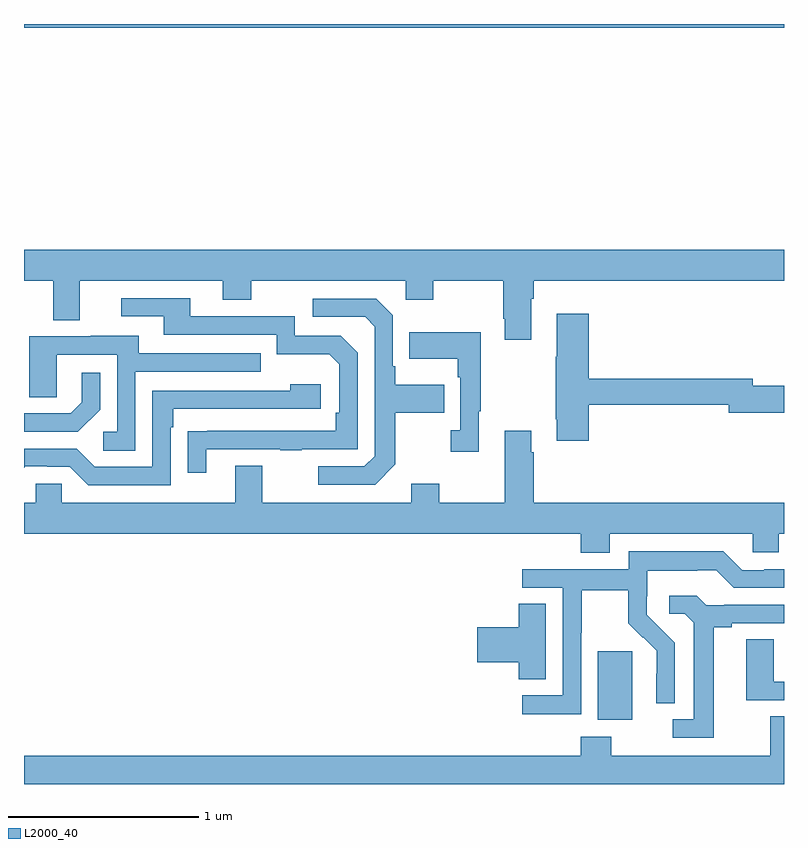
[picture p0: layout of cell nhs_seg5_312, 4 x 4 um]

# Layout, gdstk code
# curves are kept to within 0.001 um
import gdstk
lib = gdstk.Library(unit=1e-6, precision=1e-09)
def R(c, l, rs):  # rectangles x0, y0, x1, y1
    for r in rs: c.add(gdstk.rectangle(r[:2], r[2:], *l))
def P(c, l, *ps):  # polygons
    for p in ps: c.add(gdstk.Polygon(p, *l))
L2000_40 = (2000, 40)

nhs_seg5_312 = lib.new_cell('nhs_seg5_312')
R(nhs_seg5_312, L2000_40, [(134.021,833.138,134.2,833.499), (131,836.78,135,836.799)])
P(nhs_seg5_312, L2000_40, [(133.669,835.352),(133.682,835.352),(133.682,835.448),(135,835.448),(135,835.612),(131,835.612),(131,835.448),(131.153,835.448),(131.153,835.24),(131.293,835.24),(131.293,835.448),(132.047,835.448),(132.047,835.349),(132.195,835.349),(132.195,835.448),(133.008,835.448),(133.008,835.349),(133.155,835.349),(133.155,835.448),(133.522,835.448),(133.522,835.249),(133.529,835.249),(133.529,835.137),(133.669,835.137)],
  [(131.959,834.561),(132.349,834.561),(132.349,834.556),(132.461,834.556),(132.461,834.561),(132.756,834.561),(132.756,835.068),(132.666,835.158),(132.426,835.158),(132.426,835.26),(131.875,835.26),(131.875,835.356),(131.511,835.356),(131.511,835.26),(131.735,835.26),(131.735,835.164),(132.33,835.164),(132.33,835.061),(132.607,835.061),(132.66,835.008),(132.66,834.754),(132.64,834.754),(132.64,834.657),(131.863,834.656),(131.863,834.438),(131.959,834.438)],
  [(132.955,834.481),(132.955,834.754),(133.211,834.754),(133.211,834.901),(132.955,834.901),(132.955,834.997),(132.942,834.997),(132.942,835.266),(132.855,835.353),(132.519,835.353),(132.519,835.257),(132.795,835.257),(132.846,835.206),(132.846,834.525),(132.792,834.471),(132.549,834.471),(132.549,834.375),(132.849,834.375)],
  [(133.973,834.796),(134.708,834.796),(134.708,834.754),(135,834.754),(135,834.896),(134.836,834.896),(134.836,834.932),(133.973,834.932),(133.973,835.273),(133.805,835.273),(133.805,835.049),(133.798,835.049),(133.798,834.718),(133.805,834.718),(133.805,834.606),(133.973,834.606)],
  [(133.393,834.761),(133.405,834.761),(133.405,835.177),(133.027,835.177),(133.027,835.037),(133.284,835.037),(133.284,834.941),(133.296,834.941),(133.296,834.662),(133.245,834.662),(133.245,834.549),(133.393,834.549)],
  [(131.586,834.969),(132.245,834.969),(132.245,835.065),(131.605,835.065),(131.605,835.159),(131.351,835.159),(131.351,835.155),(131.027,835.155),(131.027,834.835),(131.172,834.835),(131.172,835.059),(131.49,835.059),(131.49,834.654),(131.418,834.654),(131.418,834.553),(131.586,834.553)],
  [(131.4,834.77),(131.4,834.964),(131.303,834.964),(131.303,834.807),(131.246,834.75),(131,834.75),(131,834.654),(131.284,834.654)],
  [(131.772,834.677),(131.785,834.677),(131.785,834.774),(132.562,834.774),(132.562,834.904),(132.401,834.904),(132.401,834.87),(131.676,834.87),(131.676,834.468),(131.373,834.468),(131.277,834.564),(131,834.564),(131,834.464),(131.007,834.471),(131.123,834.471),(131.123,834.468),(131.241,834.468),(131.337,834.372),(131.772,834.372)],
  [(134.083,834.116),(134.835,834.116),(134.835,834.018),(134.973,834.018),(134.973,834.116),(135,834.116),(135,834.28),(133.682,834.28),(133.682,834.545),(133.669,834.545),(133.669,834.658),(133.529,834.658),(133.529,834.28),(133.185,834.28),(133.185,834.379),(133.037,834.379),(133.037,834.28),(132.253,834.28),(132.253,834.475),(132.113,834.475),(132.113,834.28),(131.199,834.28),(131.199,834.378),(131.061,834.378),(131.061,834.28),(131,834.28),(131,834.116),(133.931,834.116),(133.931,834.017),(134.083,834.017)],
  [(133.932,833.596),(133.935,833.596),(133.935,833.82),(134.179,833.82),(134.179,833.645),(134.256,833.568),(134.259,833.571),(134.33,833.501),(134.33,833.378),(134.328,833.378),(134.328,833.224),(134.424,833.224),(134.424,833.542),(134.278,833.69),(134.278,833.787),(134.28,833.787),(134.28,833.921),(134.543,833.921),(134.543,833.925),(134.643,833.925),(134.736,833.832),(135,833.832),(135,833.928),(134.897,833.928),(134.897,833.925),(134.781,833.925),(134.681,834.025),(134.184,834.025),(134.184,833.928),(133.623,833.928),(133.623,833.832),(133.836,833.832),(133.836,833.265),(133.623,833.265),(133.623,833.167),(133.932,833.167)],
  [(134.629,833.624),(134.725,833.624),(134.725,833.646),(135,833.646),(135,833.742),(134.686,833.742),(134.686,833.739),(134.592,833.739),(134.54,833.791),(134.397,833.791),(134.397,833.694),(134.478,833.694),(134.525,833.647),(134.525,833.139),(134.415,833.139),(134.415,833.043),(134.629,833.043)],
  [(133.747,833.747),(133.604,833.747),(133.604,833.624),(133.386,833.624),(133.386,833.441),(133.604,833.441),(133.604,833.35),(133.747,833.35)],
  [(135,833.337),(134.946,833.337),(134.946,833.561),(134.801,833.561),(134.801,833.241),(135,833.241)],
  [(135,833.156),(134.927,833.156),(134.927,832.948),(134.091,832.948),(134.091,833.047),(133.931,833.047),(133.931,832.948),(131,832.948),(131,832.799),(135,832.799)])

lib.write_gds('nhs_seg5_312.gds')
